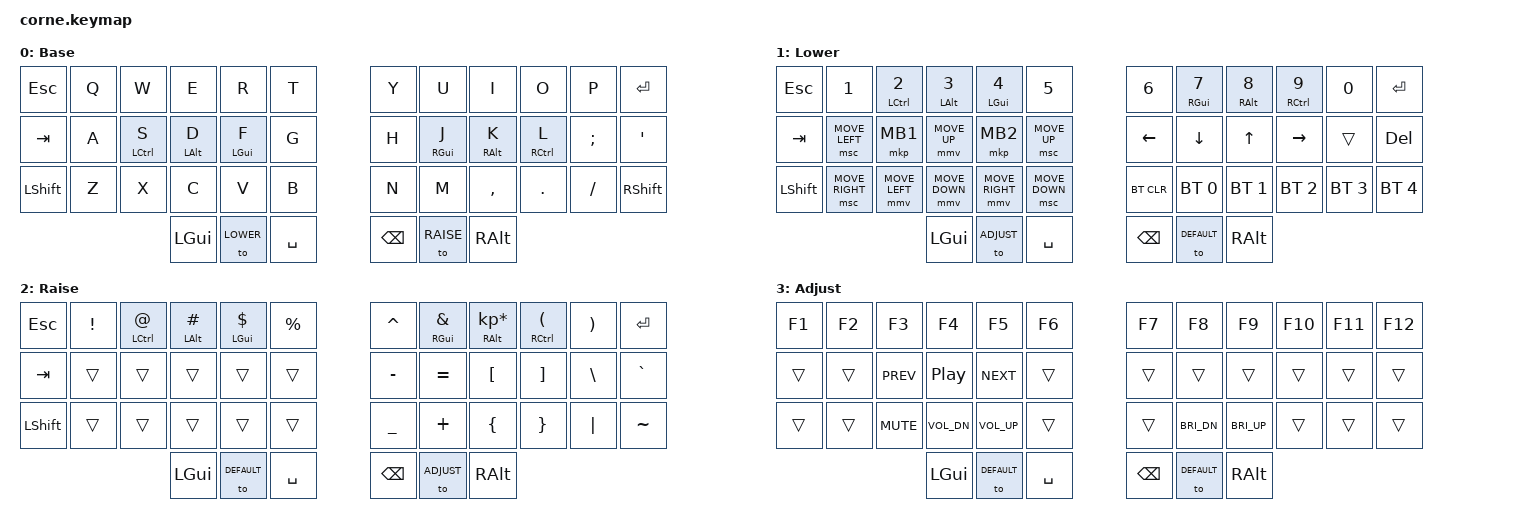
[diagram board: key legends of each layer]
/*
 * Copyright (c) 2020 The ZMK Contributors
 *
 * SPDX-License-Identifier: MIT
 */

#include <behaviors.dtsi>
#include <dt-bindings/zmk/keys.h>
#include <dt-bindings/zmk/bt.h>

#define ZMK_POINTING_DEFAULT_MOVE_VAL 1500  // 600
#define ZMK_POINTING_DEFAULT_SCRL_VAL 20    // 10

#include <dt-bindings/zmk/pointing.h>

#define DEFAULT 0
#define LOWER   1
#define RAISE   2
#define ADJUST  3

&mmv {
    acceleration-exponent = <2>;  // 1 - uniform speed 2 - linear acceleration
    time-to-max-speed-ms = <300>; // 300
    delay-ms = <0>;
    trigger-period-ms = <8>;      // 16
};
&msc {
    acceleration-exponent = <2>;  // 0
    time-to-max-speed-ms = <500>; // 300
    delay-ms = <0>;
    trigger-period-ms = <8>;      // 16
};

/ {
  behaviors {
    hml: homewrow_mods_left {
      compatible = "zmk,behavior-hold-tap";
      #binding-cells = <2>;
      flavor = "balanced";
      label = "HOMEROW_MODS_LEFT_HAND";
      bindings = <&kp>, <&kp>;
      tapping-term-ms = <280>;
      hold-trigger-key-positions = <6 7 8 9 10 11 18 19 20 21 22 23 30 31 32 33 34 35 39 40 41>;
    };
    hmr: homewrow_mods_right {
      compatible = "zmk,behavior-hold-tap";
      #binding-cells = <2>;
      flavor = "balanced";
      label = "HOMEROW_MODS_RIGHT_HAND";
      bindings = <&kp>, <&kp>;
      tapping-term-ms = <280>;
      hold-trigger-key-positions = <0 1 2 3 4 5 12 13 14 15 16 17 24 25 26 27 28 29 36 37 38>;
    };
  };

        keymap {
                compatible = "zmk,keymap";

                default_layer {
// ------------------------------------------------------------------------------------------------------
// | ESC  |  Q  |  W      |  E     |  R     |  T  |   |  Y   |  U     |  I     |  O       |  P  | ENT   |
// | TAB  |  A  |  S CTRL |  D ALT |  F CMD |  G  |   |  H   |  J CMD |  K ALT |  L  CTRL |  ;  | '     |
// | SHFT |  Z  |  X      |  C     |  V     |  B  |   |  N   |  M     |  ,     |  .       |  /  | SHIFT |
//                        | GUI    | LWR    | SPC |   | BKSP | RSE    | ALT    |
                        display-name = "Base";
                        bindings = <
   &kp ESC    &kp Q  &kp W         &kp E        &kp R        &kp T        &kp Y     &kp U        &kp I        &kp O         &kp P     &kp RET
   &kp TAB    &kp A  &hml LCTRL S  &hml LALT D  &hml LGUI F  &kp G        &kp H     &hmr RGUI J  &hmr RALT K  &hmr RCTRL L  &kp SEMI  &kp SQT
   &kp LSHFT  &kp Z  &kp X         &kp C        &kp V        &kp B        &kp N     &kp M        &kp COMMA    &kp DOT       &kp FSLH  &kp RSHFT
                                   &kp LGUI     &to LOWER    &kp SPACE    &kp BSPC  &to RAISE    &kp RALT
                        >;
                };

                lower_layer {
// ---------------------------------------------------------------------------------------
// | ESC   |  1  | 2 CTRL | 3 ALT | 4 CMD  |  5   |   |  6    |  7 CMD  |  8 ALT  |  9 CTRL  |  0  | ENT  |
// | TAB   | SCL | MC1    | MUP   | MC2    | SCUP |   | LEFT  |  DOWN   |  UP     |  RIGHT   |     | DEL  |
// | SHFT  | SCR | MLT    | MDN   | MRT    | SCDN |   | BTCLR |  BT1    |  BT2    |  BT3     | BT4 | BT5  |
//                        | GUI   | ADJ    | SPC  |   | BKSP  | BASE    |  ALT    |
                        display-name = "Lower";
                        bindings = <
   &kp ESC    &kp N1          &hml LCTRL N2   &hml LALT N3    &hml LGUI N4     &kp N5          &kp N6      &hml RGUI N7  &hml RALT N8  &hml RCTRL N9  &kp N0        &kp RET
   &kp TAB    &msc MOVE_LEFT  &mkp MB1        &mmv MOVE_UP    &mkp MB2         &msc MOVE_UP    &kp LEFT    &kp DOWN      &kp UP        &kp RIGHT      &trans        &kp DEL
   &kp LSHFT  &msc MOVE_RIGHT &mmv MOVE_LEFT  &mmv MOVE_DOWN  &mmv MOVE_RIGHT  &msc MOVE_DOWN  &bt BT_CLR  &bt BT_SEL 0  &bt BT_SEL 1  &bt BT_SEL 2   &bt BT_SEL 3  &bt BT_SEL 4
                                              &kp LGUI        &to ADJUST       &kp SPACE       &kp BSPC    &to DEFAULT   &kp RALT
                        >;
                };

                raise_layer {
// --------------------------------------------------------------------------------
// | ESC  |  !  |  @ CTRL |  # ALT  |  $ CMD  |  %  |   |  ^   |  & CMD |  * ALT |  ( CTRL |  )  | ENT  |
// | TAB  |     |         |         |         |     |   |  -   |  =     |  [     |  ]      |  \  |  `   |
// | SHFT |     |         |         |         |     |   |  _   |  +     |  {     |  }      | "|" |  ~   |
//                        |  GUI    | BASE    | SPC |   | BKSP | ADJ    |  ALT   |
                        display-name = "Raise";
                        bindings = <
   &kp ESC    &kp EXCL  &hml LCTRL AT  &hml LALT HASH  &hml LGUI DLLR  &kp PRCNT    &kp CARET  &hml RGUI AMPS  &hml RALT KP_MULTIPLY  &hml RCTRL LPAR  &kp RPAR  &kp RET
   &kp TAB    &trans    &trans         &trans          &trans          &trans       &kp MINUS  &kp EQUAL       &kp LBKT               &kp RBKT         &kp BSLH  &kp GRAVE
   &kp LSHFT  &trans    &trans         &trans          &trans          &trans       &kp UNDER  &kp PLUS        &kp LBRC               &kp RBRC         &kp PIPE  &kp TILDE
                                       &kp LGUI        &to DEFAULT     &kp SPACE    &kp BSPC   &to ADJUST      &kp RALT
                        >;
                };

                adjust_layer {
// ---------------------------------------------------------------------------------------
// | F1    | F2  | F3     | F4    | F5     | F6   |   | F7    | F8      | F9      | F10      | F11 | F12  |
// |       |     | PREV   | PLAY  | NEXT   |      |   |       |         |         |          |     |      |
// |       |     | MUTE   | VOLDN | VOLUP  |      |   |       | BRIDN   | BRIUP   |          |     |      |
//                        | GUI   | BASE   | SPC  |   | BKSP  | BASE    | ALT     |
                        display-name = "Adjust";
                        bindings = <
   &kp F1     &kp F2  &kp F3      &kp F4        &kp F5        &kp F6       &kp F7  &kp F8        &kp F9        &kp F10 &kp F11 &kp F12
   &trans     &trans  &kp C_PREV  &kp C_PP      &kp C_NEXT    &trans       &trans  &trans        &trans        &trans  &trans  &trans
   &trans     &trans  &kp C_MUTE  &kp C_VOL_DN  &kp C_VOL_UP  &trans       &trans  &kp C_BRI_DN  &kp C_BRI_UP  &trans  &trans  &trans
                                  &kp LGUI      &to DEFAULT   &kp SPACE    &kp BSPC &to DEFAULT &kp RALT
                        >;
                };
        };
};

